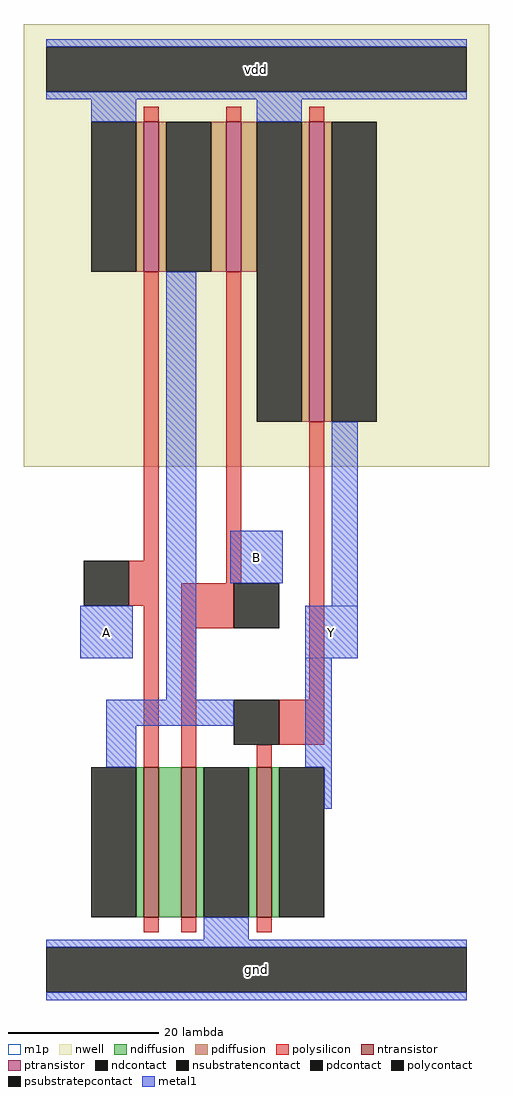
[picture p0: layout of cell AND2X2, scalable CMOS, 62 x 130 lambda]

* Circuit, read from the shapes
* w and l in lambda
.subckt AND2X2 A B Y vdd gnd
M1 n1 A n2 gnd nfet w=20 l=2
M2 gnd B n1 gnd nfet w=20 l=2
M3 Y n2 gnd gnd nfet w=20 l=2
M4 n2 A vdd vdd pfet w=20 l=2
M5 vdd B n2 vdd pfet w=20 l=2
M6 Y n2 vdd vdd pfet w=40 l=2
.ends

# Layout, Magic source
magic
tech scmos
magscale 1 2
<< nwell >>
rect -12 134 112 252
<< ntransistor >>
rect 20 14 24 54
rect 30 14 34 54
rect 50 14 54 54
<< ptransistor >>
rect 20 186 24 226
rect 42 186 46 226
rect 64 146 68 226
<< ndiffusion >>
rect 18 14 20 54
rect 24 14 30 54
rect 34 14 36 54
rect 48 14 50 54
rect 54 14 56 54
<< pdiffusion >>
rect 18 186 20 226
rect 24 186 26 226
rect 38 186 42 226
rect 46 186 50 226
rect 62 146 64 226
rect 68 146 70 226
<< ndcontact >>
rect 6 14 18 54
rect 36 14 48 54
rect 56 14 68 54
<< pdcontact >>
rect 6 186 18 226
rect 26 186 38 226
rect 50 146 62 226
rect 70 146 82 226
<< psubstratepcontact >>
rect -6 -6 106 6
<< nsubstratencontact >>
rect -6 234 106 246
<< polysilicon >>
rect 20 226 24 230
rect 42 226 46 230
rect 64 226 68 230
rect 20 109 24 186
rect 16 97 24 109
rect 42 103 46 186
rect 20 54 24 97
rect 30 91 44 103
rect 30 54 34 91
rect 64 72 68 146
rect 56 60 68 72
rect 50 54 54 60
rect 20 10 24 14
rect 30 10 34 14
rect 50 10 54 14
<< polycontact >>
rect 4 97 16 109
rect 44 91 56 103
rect 44 60 56 72
<< metal1 >>
rect -6 246 106 248
rect -6 232 106 234
rect 6 226 18 232
rect 50 226 62 232
rect 3 83 17 97
rect 26 72 34 186
rect 43 103 57 117
rect 70 97 77 146
rect 63 83 77 97
rect 10 65 44 72
rect 10 54 18 65
rect 63 54 70 83
rect 68 43 70 54
rect 36 8 48 14
rect -6 6 106 8
rect -6 -8 106 -6
<< m1p >>
rect 43 103 57 117
rect 3 83 17 97
rect 63 83 77 97
<< labels >>
rlabel metal1 -6 -8 106 8 0 gnd
port 4 nsew ground bidirectional abutment
rlabel metal1 63 83 77 97 0 Y
port 2 nsew signal output
rlabel metal1 3 83 17 97 0 A
port 0 nsew signal input
rlabel metal1 -6 232 106 248 0 vdd
port 3 nsew power bidirectional abutment
rlabel metal1 43 103 57 117 0 B
port 1 nsew signal input
<< properties >>
string FIXED_BBOX 0 0 100 240
string LEFclass CORE
string LEFsite core
string LEFsymmetry X Y
<< end >>
